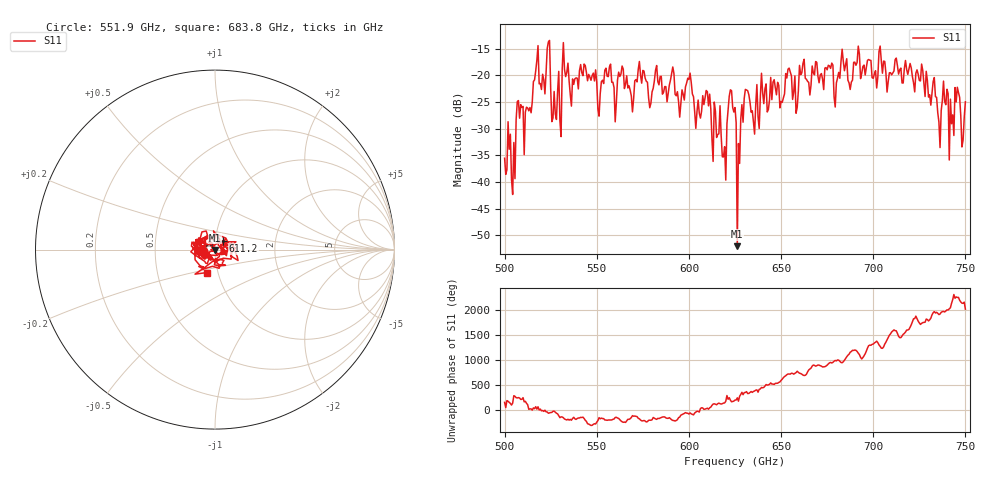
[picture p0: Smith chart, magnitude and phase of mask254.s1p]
!Created with skrf (http://scikit-rf.org).
# GHz S MA R 50.0
!freq magS11 angS11
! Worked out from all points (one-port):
!   401 points, 500 GHz to 750 GHz, reference 50 ohm
!   lowest |S11| = -52.0 dB at 626.2 GHz (marker M1), VSWR 1.01, Z = 49.9 - j0.229 ohm
!   |S11| at or under -10 dB: start of sweep to end of sweep
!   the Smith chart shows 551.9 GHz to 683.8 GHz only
!   S11 on the Smith chart (normalised r, x): 551.9 GHz: 0.87, -0.01; 611.2 GHz: 1.09, +0.11; 683.8 GHz: 0.88, -0.23
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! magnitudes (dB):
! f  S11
! 500 GHz  -35.5
! 505 GHz  -32.6
! 507.5 GHz  -24.7
! 511.9 GHz  -26.0
! 516.9 GHz  -19.1
! 523.8 GHz  -13.7
! 526.9 GHz  -23.0
! 531.2 GHz  -18.8
! 542.5 GHz  -20.0
! 551.9 GHz  -23.4
! 562.5 GHz  -20.2
! 593.8 GHz  -23.1
! 600 GHz  -20.8
! 611.2 GHz  -23.5
! 618.8 GHz  -35.3
! 623.1 GHz  -22.9
! 625 GHz  -26.0
! 626.2 GHz  -52.0
! 631.2 GHz  -22.7
! 635 GHz  -28.7
! 656.2 GHz  -24.5
! 680 GHz  -21.4
! 683.8 GHz  -17.3
! 687.5 GHz  -22.6
! 691.2 GHz  -17.6
! 718.8 GHz  -19.8
! 735.6 GHz  -28.7
! 750 GHz  -24.9
